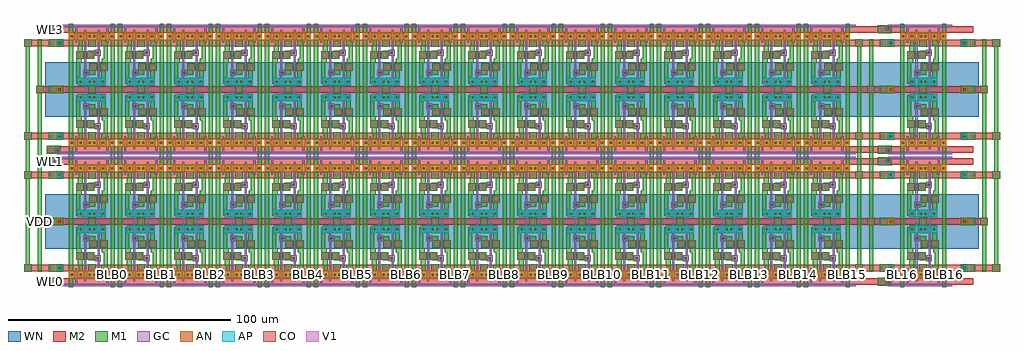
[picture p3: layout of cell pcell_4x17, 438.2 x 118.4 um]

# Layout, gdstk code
import gdstk
lib = gdstk.Library(unit=1e-6, precision=5e-08)
def R(c, l, rs):  # rectangles x0, y0, x1, y1
    for r in rs: c.add(gdstk.rectangle(r[:2], r[2:], *l))
def A(c, l, x, y, w, h, nx, ny, dx, dy):  # array of equal rectangles
    R(c, l, [(x+i*dx, y+j*dy, x+i*dx+w, y+j*dy+h) for i in range(nx) for j in range(ny)])
AP = (3, 1)
AN = (3, 2)
GC = (8, 1)
CO = (11, 0)
M1 = (13, 0)
V1 = (19, 0)
M2 = (20, 0)
WN = (140, 0)

fet_n = lib.new_cell('fet_n')
R(fet_n, AN, [(-3.3,-1.7,3.3,1.7)])
R(fet_n, CO, [(-2.5,-0.5,-1.5,0.5), (1.5,-0.5,2.5,0.5)])
R(fet_n, M1, [(-3.3,-1.3,-0.7,1.3), (0.7,-1.3,3.3,1.3)])
fet_n.add(gdstk.FlexPath([(0,-2.9),(0,2.9)], 1, ends="flush", simple_path=True, layer=8, datatype=1))  # GC

fet_p = lib.new_cell('fet_p')
R(fet_p, AP, [(-3.3,-1.7,3.3,1.7)])
R(fet_p, CO, [(-2.5,-0.5,-1.5,0.5), (1.5,-0.5,2.5,0.5)])
R(fet_p, M1, [(-3.3,-1.3,-0.7,1.3), (0.7,-1.3,3.3,1.3)])
fet_p.add(gdstk.FlexPath([(0,-2.9),(0,2.9)], 1, ends="flush", simple_path=True, layer=8, datatype=1))  # GC

via_1 = lib.new_cell('via_1')
R(via_1, M1, [(-1.7,-1.7,1.7,1.7)])
R(via_1, V1, [(-0.7,-0.7,0.7,0.7)])
R(via_1, M2, [(-1.7,-1.7,1.7,1.7)])

cont_g = lib.new_cell('cont_g')
R(cont_g, GC, [(-1.3,-1.3,1.3,1.3)])
R(cont_g, CO, [(-0.5,-0.5,0.5,0.5)])
R(cont_g, M1, [(-1.3,-1.3,1.3,1.3)])

pcell_core = lib.new_cell('pcell_core')
R(pcell_core, GC, [(0,-5.1,22,-4.1), (1.5,-5.1,2.5,-2.4), (15.5,-5.1,16.5,-2.4), (5.5,2.4,6.5,18), (11.5,2.4,12.5,18), (11.1,6.9,12.5,7.9), (5.5,15.9,6.9,16.9)])
R(pcell_core, M1, [(-1.3,-5.7,0.5,23.9), (17.5,-5.7,19.3,23.9), (3.1,-0.9,4.9,5.9), (8.1,-0.9,9.9,3.9), (13.1,-0.9,14.9,4.5), (14.9,1.3,15.3,2.7), (13.1,2.7,16.1,4.5), (14.3,2.7,16.1,11.9), (2.7,4.1,4.9,5.9), (2.7,4.1,4.5,11.9), (4.5,5.9,4.9,6.7), (7.5,6.5,9.3,9.3), (7.5,6.5,12.5,8.3), (10.1,8.3,10.3,8.7), (1.9,10.1,4.5,11.9), (1.9,10.1,3.7,21.3), (13.5,10.1,16.1,11.9), (13.5,10.1,15.3,18.7), (15.3,11.9,16.1,12.1), (8.7,12.9,10.5,17.3), (7.7,15.1,7.9,15.5), (5.5,15.5,10.5,17.3), (13.1,15.5,13.5,16.9), (13.1,16.9,15.3,18.7), (13.1,16.9,14.9,21.3), (14.9,18.7,15.3,19.1), (1.9,19.5,4.9,21.3), (8.1,19.5,9.9,24.8), (7.3,21.7,8.1,22.2), (9.9,21.7,10.7,22.2)])
R(pcell_core, M2, [(0,-4.5,22,-1.5), (0,1.5,22,4.5), (1.9,6.7,10.1,10.1), (7.9,12.1,16.1,15.5), (0,22.4,22,25.4)])
R(pcell_core, WN, [(-3.5,11.7,25.5,29.1)])
pcell_core.add(gdstk.Reference(fet_n, (2,0)))
pcell_core.add(gdstk.Reference(fet_n, (6,0)))
pcell_core.add(gdstk.Reference(fet_n, (12,0)))
pcell_core.add(gdstk.Reference(fet_n, (16,0)))
pcell_core.add(gdstk.Reference(fet_p, (6,20.4)))
pcell_core.add(gdstk.Reference(fet_p, (12,20.4)))
pcell_core.add(gdstk.Reference(via_1, (9,3)))
pcell_core.add(gdstk.Reference(via_1, (9,23.9)))
pcell_core.add(gdstk.Reference(via_1, (3.6,8.4)))
pcell_core.add(gdstk.Reference(via_1, (8.4,8.4)))
pcell_core.add(gdstk.Reference(cont_g, (11.6,7.4)))
pcell_core.add(gdstk.Reference(via_1, (14.4,13.8)))
pcell_core.add(gdstk.Reference(via_1, (9.6,13.8)))
pcell_core.add(gdstk.Reference(cont_g, (6.4,16.4)))

cont_n = lib.new_cell('cont_n')
R(cont_n, AN, [(-1.3,-1.3,1.3,1.3)])
R(cont_n, CO, [(-0.5,-0.5,0.5,0.5)])
R(cont_n, M1, [(-1.3,-1.3,1.3,1.3)])

cont_p = lib.new_cell('cont_p')
R(cont_p, AP, [(-1.3,-1.3,1.3,1.3)])
R(cont_p, CO, [(-0.5,-0.5,0.5,0.5)])
R(cont_p, M1, [(-1.3,-1.3,1.3,1.3)])

pcell_4x17 = lib.new_cell('pcell_4x17')
R(pcell_4x17, GC, [(-6.9,0.6,-5.9,2.5), (-6.4,0.6,0,1.6), (366.3,0.6,367.3,2.5), (366.8,0.6,373.2,1.6), (-6.9,56.7,-5.9,58.6), (366.3,56.7,367.3,58.6), (-6.4,57.6,0,58.6), (366.8,57.6,373.2,58.6), (-6.9,59.8,-5.9,61.7), (-6.4,59.8,0,60.8), (366.3,59.8,367.3,61.7), (366.8,59.8,373.2,60.8), (-6.9,115.9,-5.9,117.8), (366.3,115.9,367.3,117.8), (-6.4,116.8,0,117.8), (366.8,116.8,373.2,117.8)])
A(pcell_4x17, M1, -10.5, 7, 6.6, 3.4, 1, 3, 0, 20.9)
A(pcell_4x17, M1, 362.7, 7, 6.6, 3.4, 1, 3, 0, 20.9)
A(pcell_4x17, M1, 399.1, 7, 6.6, 3.4, 1, 3, 0, 20.9)
A(pcell_4x17, M1, -10.5, 66.2, 6.6, 3.4, 1, 3, 0, 20.9)
A(pcell_4x17, M1, 362.7, 66.2, 6.6, 3.4, 1, 3, 0, 20.9)
A(pcell_4x17, M1, 399.1, 66.2, 6.6, 3.4, 1, 3, 0, 20.9)
R(pcell_4x17, M1, [(-11.3,0.7,-5.1,4.4), (361.9,0.7,368.1,4.4), (-20.7,7,-18.9,111.4), (-15.3,7,-13.5,111.4), (352.5,7,354.3,111.4), (357.9,7,359.7,111.4), (408.7,7,410.5,111.4), (414.1,7,415.9,111.4), (-11.3,54.8,-5.1,58.5), (361.9,54.8,368.1,58.5), (-11.3,59.9,-5.1,63.6), (361.9,59.9,368.1,63.6), (-11.3,114,-5.1,117.7), (361.9,114,368.1,117.7)])
A(pcell_4x17, M2, -1.7, 7.2, 398.6, 3, 1, 3, 0, 20.9)
A(pcell_4x17, M2, -1.7, 66.4, 398.6, 3, 1, 3, 0, 20.9)
R(pcell_4x17, M2, [(-9.6,1.2,404.8,4.2), (-21.5,7.2,396.9,10.2), (-1.7,7.2,416.7,10.2), (-16.1,28.1,396.9,31.1), (-1.7,28.1,411.3,31.1), (-21.5,49,396.9,52), (-1.7,49,416.7,52), (-9.6,55,404.8,58), (-9.6,60.4,404.8,63.4), (-21.5,66.4,396.9,69.4), (-1.7,66.4,416.7,69.4), (-16.1,87.3,396.9,90.3), (-1.7,87.3,411.3,90.3), (-21.5,108.2,396.9,111.2), (-1.7,108.2,416.7,111.2), (-9.6,114.2,404.8,117.2)])
R(pcell_4x17, WN, [(-12,17.4,407.2,41.8), (0,17.4,407.2,41.8), (361.2,17.4,407.2,41.8), (-12,76.6,407.2,101), (0,76.6,407.2,101), (361.2,76.6,407.2,101)])
pcell_4x17.add(gdstk.Reference(pcell_core, (176,5.7)))
pcell_4x17.add(gdstk.Reference(pcell_core, (198,5.7)))
pcell_4x17.add(gdstk.Reference(pcell_core, (176,53.5), x_reflection=True))
pcell_4x17.add(gdstk.Reference(pcell_core, (198,53.5), x_reflection=True))
pcell_4x17.add(gdstk.Reference(pcell_core, (176,64.9)))
pcell_4x17.add(gdstk.Reference(pcell_core, (198,64.9)))
pcell_4x17.add(gdstk.Reference(pcell_core, (176,112.7), x_reflection=True))
pcell_4x17.add(gdstk.Reference(pcell_core, (198,112.7), x_reflection=True))
pcell_4x17.add(gdstk.Reference(pcell_core, (264,64.9)))
pcell_4x17.add(gdstk.Reference(pcell_core, (286,64.9)))
pcell_4x17.add(gdstk.Reference(pcell_core, (308,64.9)))
pcell_4x17.add(gdstk.Reference(pcell_core, (330,64.9)))
pcell_4x17.add(gdstk.Reference(pcell_core, (373.2,64.9)))
pcell_4x17.add(gdstk.Reference(cont_g, (366.8,61.2)))
pcell_4x17.add(gdstk.Reference(via_1, (363.6,61.9)))
pcell_4x17.add(gdstk.Reference(pcell_core, (220,64.9)))
pcell_4x17.add(gdstk.Reference(pcell_core, (242,64.9)))
pcell_4x17.add(gdstk.Reference(pcell_core, (220,112.7), x_reflection=True))
pcell_4x17.add(gdstk.Reference(pcell_core, (242,112.7), x_reflection=True))
pcell_4x17.add(gdstk.Reference(pcell_core, (264,112.7), x_reflection=True))
pcell_4x17.add(gdstk.Reference(pcell_core, (286,112.7), x_reflection=True))
pcell_4x17.add(gdstk.Reference(pcell_core, (308,112.7), x_reflection=True))
pcell_4x17.add(gdstk.Reference(pcell_core, (330,112.7), x_reflection=True))
pcell_4x17.add(gdstk.Reference(pcell_core, (373.2,112.7), x_reflection=True))
pcell_4x17.add(gdstk.Reference(cont_g, (366.8,116.4)))
pcell_4x17.add(gdstk.Reference(via_1, (363.6,115.7)))
pcell_4x17.add(gdstk.Reference(cont_n, (367.6,88.8)))
pcell_4x17.add(gdstk.Reference(via_1, (364.4,88.8)))
pcell_4x17.add(gdstk.Reference(via_1, (358.8,88.8)))
pcell_4x17.add(gdstk.Reference(cont_p, (367.6,67.9)))
pcell_4x17.add(gdstk.Reference(via_1, (364.4,67.9)))
pcell_4x17.add(gdstk.Reference(via_1, (353.4,67.9)))
pcell_4x17.add(gdstk.Reference(cont_p, (367.6,109.7)))
pcell_4x17.add(gdstk.Reference(via_1, (364.4,109.7)))
pcell_4x17.add(gdstk.Reference(via_1, (353.4,109.7)))
pcell_4x17.add(gdstk.Reference(cont_n, (400.8,88.8)))
pcell_4x17.add(gdstk.Reference(via_1, (404,88.8)))
pcell_4x17.add(gdstk.Reference(via_1, (409.6,88.8)))
pcell_4x17.add(gdstk.Reference(cont_p, (400.8,67.9)))
pcell_4x17.add(gdstk.Reference(via_1, (404,67.9)))
pcell_4x17.add(gdstk.Reference(via_1, (415,67.9)))
pcell_4x17.add(gdstk.Reference(cont_p, (400.8,109.7)))
pcell_4x17.add(gdstk.Reference(via_1, (404,109.7)))
pcell_4x17.add(gdstk.Reference(via_1, (415,109.7)))
pcell_4x17.add(gdstk.Reference(pcell_core, (44,64.9)))
pcell_4x17.add(gdstk.Reference(pcell_core, (0,112.7), x_reflection=True))
pcell_4x17.add(gdstk.Reference(cont_n, (-5.6,88.8)))
pcell_4x17.add(gdstk.Reference(via_1, (-8.8,88.8)))
pcell_4x17.add(gdstk.Reference(via_1, (-14.4,88.8)))
pcell_4x17.add(gdstk.Reference(cont_p, (-5.6,67.9)))
pcell_4x17.add(gdstk.Reference(via_1, (-8.8,67.9)))
pcell_4x17.add(gdstk.Reference(via_1, (-19.8,67.9)))
pcell_4x17.add(gdstk.Reference(cont_p, (-5.6,109.7)))
pcell_4x17.add(gdstk.Reference(via_1, (-8.8,109.7)))
pcell_4x17.add(gdstk.Reference(via_1, (-19.8,109.7)))
pcell_4x17.add(gdstk.Reference(pcell_core, (22,112.7), x_reflection=True))
pcell_4x17.add(gdstk.Reference(pcell_core, (44,112.7), x_reflection=True))
pcell_4x17.add(gdstk.Reference(pcell_core, (66,112.7), x_reflection=True))
pcell_4x17.add(gdstk.Reference(pcell_core, (88,112.7), x_reflection=True))
pcell_4x17.add(gdstk.Reference(pcell_core, (110,112.7), x_reflection=True))
pcell_4x17.add(gdstk.Reference(pcell_core, (132,112.7), x_reflection=True))
pcell_4x17.add(gdstk.Reference(pcell_core, (154,112.7), x_reflection=True))
pcell_4x17.add(gdstk.Reference(pcell_core, (66,64.9)))
pcell_4x17.add(gdstk.Reference(pcell_core, (88,64.9)))
pcell_4x17.add(gdstk.Reference(pcell_core, (110,64.9)))
pcell_4x17.add(gdstk.Reference(pcell_core, (132,64.9)))
pcell_4x17.add(gdstk.Reference(pcell_core, (154,64.9)))
pcell_4x17.add(gdstk.Reference(pcell_core, (0,64.9)))
pcell_4x17.add(gdstk.Reference(cont_g, (-6.4,61.2)))
pcell_4x17.add(gdstk.Reference(via_1, (-9.6,61.9)))
pcell_4x17.add(gdstk.Reference(pcell_core, (22,64.9)))
pcell_4x17.add(gdstk.Reference(cont_g, (-6.4,116.4)))
pcell_4x17.add(gdstk.Reference(via_1, (-9.6,115.7)))
pcell_4x17.add(gdstk.Reference(via_1, (-8.8,8.7)))
pcell_4x17.add(gdstk.Reference(via_1, (-19.8,8.7)))
pcell_4x17.add(gdstk.Reference(cont_p, (-5.6,50.5)))
pcell_4x17.add(gdstk.Reference(via_1, (-8.8,50.5)))
pcell_4x17.add(gdstk.Reference(via_1, (-19.8,50.5)))
pcell_4x17.add(gdstk.Reference(pcell_core, (22,5.7)))
pcell_4x17.add(gdstk.Reference(cont_g, (-6.4,2)))
pcell_4x17.add(gdstk.Reference(via_1, (-9.6,2.7)))
pcell_4x17.add(gdstk.Reference(pcell_core, (0,53.5), x_reflection=True))
pcell_4x17.add(gdstk.Reference(pcell_core, (22,53.5), x_reflection=True))
pcell_4x17.add(gdstk.Reference(pcell_core, (44,53.5), x_reflection=True))
pcell_4x17.add(gdstk.Reference(pcell_core, (66,53.5), x_reflection=True))
pcell_4x17.add(gdstk.Reference(pcell_core, (88,53.5), x_reflection=True))
pcell_4x17.add(gdstk.Reference(pcell_core, (110,53.5), x_reflection=True))
pcell_4x17.add(gdstk.Reference(pcell_core, (132,53.5), x_reflection=True))
pcell_4x17.add(gdstk.Reference(pcell_core, (154,53.5), x_reflection=True))
pcell_4x17.add(gdstk.Reference(pcell_core, (44,5.7)))
pcell_4x17.add(gdstk.Reference(pcell_core, (66,5.7)))
pcell_4x17.add(gdstk.Reference(cont_g, (-6.4,57.2)))
pcell_4x17.add(gdstk.Reference(via_1, (-9.6,56.5)))
pcell_4x17.add(gdstk.Reference(pcell_core, (88,5.7)))
pcell_4x17.add(gdstk.Reference(pcell_core, (110,5.7)))
pcell_4x17.add(gdstk.Reference(cont_n, (-5.6,29.6)))
pcell_4x17.add(gdstk.Reference(via_1, (-8.8,29.6)))
pcell_4x17.add(gdstk.Reference(via_1, (-14.4,29.6)))
pcell_4x17.add(gdstk.Reference(pcell_core, (132,5.7)))
pcell_4x17.add(gdstk.Reference(pcell_core, (154,5.7)))
pcell_4x17.add(gdstk.Reference(pcell_core, (0,5.7)))
pcell_4x17.add(gdstk.Reference(cont_p, (-5.6,8.7)))
pcell_4x17.add(gdstk.Reference(cont_n, (367.6,29.6)))
pcell_4x17.add(gdstk.Reference(via_1, (364.4,29.6)))
pcell_4x17.add(gdstk.Reference(via_1, (358.8,29.6)))
pcell_4x17.add(gdstk.Reference(pcell_core, (264,5.7)))
pcell_4x17.add(gdstk.Reference(pcell_core, (220,53.5), x_reflection=True))
pcell_4x17.add(gdstk.Reference(pcell_core, (242,53.5), x_reflection=True))
pcell_4x17.add(gdstk.Reference(cont_p, (367.6,8.7)))
pcell_4x17.add(gdstk.Reference(via_1, (364.4,8.7)))
pcell_4x17.add(gdstk.Reference(via_1, (353.4,8.7)))
pcell_4x17.add(gdstk.Reference(cont_p, (367.6,50.5)))
pcell_4x17.add(gdstk.Reference(via_1, (364.4,50.5)))
pcell_4x17.add(gdstk.Reference(via_1, (353.4,50.5)))
pcell_4x17.add(gdstk.Reference(pcell_core, (264,53.5), x_reflection=True))
pcell_4x17.add(gdstk.Reference(pcell_core, (286,53.5), x_reflection=True))
pcell_4x17.add(gdstk.Reference(pcell_core, (308,53.5), x_reflection=True))
pcell_4x17.add(gdstk.Reference(pcell_core, (330,53.5), x_reflection=True))
pcell_4x17.add(gdstk.Reference(pcell_core, (373.2,53.5), x_reflection=True))
pcell_4x17.add(gdstk.Reference(pcell_core, (286,5.7)))
pcell_4x17.add(gdstk.Reference(cont_n, (400.8,29.6)))
pcell_4x17.add(gdstk.Reference(via_1, (404,29.6)))
pcell_4x17.add(gdstk.Reference(via_1, (409.6,29.6)))
pcell_4x17.add(gdstk.Reference(pcell_core, (308,5.7)))
pcell_4x17.add(gdstk.Reference(cont_g, (366.8,57.2)))
pcell_4x17.add(gdstk.Reference(via_1, (363.6,56.5)))
pcell_4x17.add(gdstk.Reference(cont_p, (400.8,8.7)))
pcell_4x17.add(gdstk.Reference(via_1, (404,8.7)))
pcell_4x17.add(gdstk.Reference(via_1, (415,8.7)))
pcell_4x17.add(gdstk.Reference(cont_p, (400.8,50.5)))
pcell_4x17.add(gdstk.Reference(via_1, (404,50.5)))
pcell_4x17.add(gdstk.Reference(via_1, (415,50.5)))
pcell_4x17.add(gdstk.Reference(pcell_core, (330,5.7)))
pcell_4x17.add(gdstk.Reference(pcell_core, (373.2,5.7)))
pcell_4x17.add(gdstk.Reference(pcell_core, (220,5.7)))
pcell_4x17.add(gdstk.Reference(pcell_core, (242,5.7)))
pcell_4x17.add(gdstk.Reference(cont_g, (366.8,2)))
pcell_4x17.add(gdstk.Reference(via_1, (363.6,2.7)))
pcell_4x17.add(gdstk.Label('WL0', (-9.6,2.7), layer=49, texttype=0))
pcell_4x17.add(gdstk.Label('WL1', (-9.6,56.5), layer=49, texttype=0))
pcell_4x17.add(gdstk.Label('WL2', (-9.6,61.9), layer=49, texttype=0))
pcell_4x17.add(gdstk.Label('WL3', (-9.6,115.7), layer=49, texttype=0))
pcell_4x17.add(gdstk.Label('VDD', (-14.4,29.6), layer=48, texttype=0))
pcell_4x17.add(gdstk.Label('VSS', (-19.8,8.7), layer=48, texttype=0))
pcell_4x17.add(gdstk.Label('BL0', (-0.4,5.7), layer=48, texttype=0))
pcell_4x17.add(gdstk.Label('BLB0', (18.4,5.7), layer=48, texttype=0))
pcell_4x17.add(gdstk.Label('BL1', (21.6,5.7), layer=48, texttype=0))
pcell_4x17.add(gdstk.Label('BLB1', (40.4,5.7), layer=48, texttype=0))
pcell_4x17.add(gdstk.Label('BL2', (43.6,5.7), layer=48, texttype=0))
pcell_4x17.add(gdstk.Label('BLB2', (62.4,5.7), layer=48, texttype=0))
pcell_4x17.add(gdstk.Label('BL3', (65.6,5.7), layer=48, texttype=0))
pcell_4x17.add(gdstk.Label('BLB3', (84.4,5.7), layer=48, texttype=0))
pcell_4x17.add(gdstk.Label('BL4', (87.6,5.7), layer=48, texttype=0))
pcell_4x17.add(gdstk.Label('BLB4', (106.4,5.7), layer=48, texttype=0))
pcell_4x17.add(gdstk.Label('BL5', (109.6,5.7), layer=48, texttype=0))
pcell_4x17.add(gdstk.Label('BLB5', (128.4,5.7), layer=48, texttype=0))
pcell_4x17.add(gdstk.Label('BL6', (131.6,5.7), layer=48, texttype=0))
pcell_4x17.add(gdstk.Label('BLB6', (150.4,5.7), layer=48, texttype=0))
pcell_4x17.add(gdstk.Label('BL7', (153.6,5.7), layer=48, texttype=0))
pcell_4x17.add(gdstk.Label('BLB7', (172.4,5.7), layer=48, texttype=0))
pcell_4x17.add(gdstk.Label('BL8', (175.6,5.7), layer=48, texttype=0))
pcell_4x17.add(gdstk.Label('BLB8', (194.4,5.7), layer=48, texttype=0))
pcell_4x17.add(gdstk.Label('BL9', (197.6,5.7), layer=48, texttype=0))
pcell_4x17.add(gdstk.Label('BLB9', (216.4,5.7), layer=48, texttype=0))
pcell_4x17.add(gdstk.Label('BL10', (219.6,5.7), layer=48, texttype=0))
pcell_4x17.add(gdstk.Label('BLB10', (238.4,5.7), layer=48, texttype=0))
pcell_4x17.add(gdstk.Label('BL11', (241.6,5.7), layer=48, texttype=0))
pcell_4x17.add(gdstk.Label('BLB11', (260.4,5.7), layer=48, texttype=0))
pcell_4x17.add(gdstk.Label('BL12', (263.6,5.7), layer=48, texttype=0))
pcell_4x17.add(gdstk.Label('BLB12', (282.4,5.7), layer=48, texttype=0))
pcell_4x17.add(gdstk.Label('BL13', (285.6,5.7), layer=48, texttype=0))
pcell_4x17.add(gdstk.Label('BLB13', (304.4,5.7), layer=48, texttype=0))
pcell_4x17.add(gdstk.Label('BL14', (307.6,5.7), layer=48, texttype=0))
pcell_4x17.add(gdstk.Label('BLB14', (326.4,5.7), layer=48, texttype=0))
pcell_4x17.add(gdstk.Label('BL15', (329.6,5.7), layer=48, texttype=0))
pcell_4x17.add(gdstk.Label('BLB15', (348.4,5.7), layer=48, texttype=0))
pcell_4x17.add(gdstk.Label('BL16', (372.8,5.7), layer=48, texttype=0))
pcell_4x17.add(gdstk.Label('BLB16', (391.6,5.7), layer=48, texttype=0))

lib.write_gds('pcell_4x17.gds')
